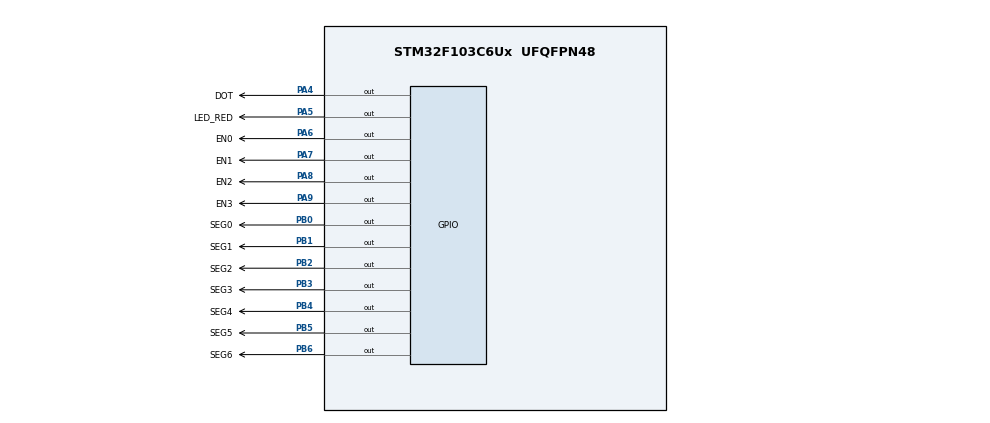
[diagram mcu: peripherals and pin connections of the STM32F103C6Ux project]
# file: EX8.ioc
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Mcu.Family=STM32F1
Mcu.Name=STM32F103C6Ux
Mcu.Package=UFQFPN48
NVIC.PriorityGroup=NVIC_PRIORITYGROUP_4
NVIC.TIM2_IRQn=true\:0\:0\:false\:false\:true\:true\:true
PA4.GPIO_Label=DOT
PA4.Signal=GPIO_Output
PA5.GPIO_Label=LED_RED
PA5.Signal=GPIO_Output
PA6.GPIO_Label=EN0
PA6.Signal=GPIO_Output
PA7.GPIO_Label=EN1
PA7.Signal=GPIO_Output
PA8.GPIO_Label=EN2
PA8.Signal=GPIO_Output
PA9.GPIO_Label=EN3
PA9.Signal=GPIO_Output
PB0.GPIO_Label=SEG0
PB0.Signal=GPIO_Output
PB1.GPIO_Label=SEG1
PB1.Signal=GPIO_Output
PB2.GPIO_Label=SEG2
PB2.Signal=GPIO_Output
PB3.GPIO_Label=SEG3
PB3.Signal=GPIO_Output
PB4.GPIO_Label=SEG4
PB4.Signal=GPIO_Output
PB5.GPIO_Label=SEG5
PB5.Signal=GPIO_Output
PB6.GPIO_Label=SEG6
PB6.Signal=GPIO_Output
ProjectManager.HeapSize=0x200
ProjectManager.StackSize=0x400
ProjectManager.TargetToolchain=STM32CubeIDE
RCC.APB1Freq_Value=8000000
RCC.APB2Freq_Value=8000000
TIM2.Period=9
TIM2.Prescaler=7999
VP_SYS_VS_ND.Mode=No_Debug
VP_TIM2_VS_ClockSourceINT.Mode=Internal
board=custom

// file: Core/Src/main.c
/* USER CODE BEGIN Header */
/**
  ******************************************************************************
  * @file           : main.c
  * @brief          : Main program body
  ******************************************************************************
  * @attention
  *
  * <h2><center>&copy; Copyright (c) 2022 STMicroelectronics.
  * All rights reserved.</center></h2>
  *
  * This software component is licensed by ST under BSD 3-Clause license,
  * the "License"; You may not use this file except in compliance with the
  * License. You may obtain a copy of the License at:
  *                        opensource.org/licenses/BSD-3-Clause
  *
  ******************************************************************************
  */
/* USER CODE END Header */
#include "main.h"

TIM_HandleTypeDef htim2;

void SystemClock_Config(void);
static void MX_GPIO_Init(void);
static void MX_TIM2_Init(void);

/* USER CODE BEGIN 0 */
int timer0_counter=0;
int timer0_flag=0;
int timer_cycle=10;
void setTimer0(int duration){
	timer0_counter=duration/timer_cycle;
	timer0_flag=0;
}
//setTimer1
int timer1_counter=0;
int timer1_flag=0;
void setTimer1(int duration){
	timer1_counter=duration/timer_cycle;
	timer1_flag=0;
}
void timer_run(){
	if(timer0_counter>0){
		timer0_counter--;
		if(timer0_counter<=0){
			timer0_flag=1;
		}
	}
	if(timer1_counter>0){
		timer1_counter--;
		if(timer1_counter<=0){
			timer1_flag=1;
		}
	}
}
/* USER CODE END 0 */

int main(void)
{

  /* MCU Configuration--------------------------------------------------------*/

  /* Reset of all peripherals, Initializes the Flash interface and the Systick. */
  HAL_Init();

  /* Configure the system clock */
  SystemClock_Config();

  /* Initialize all configured peripherals */
  MX_GPIO_Init();
  MX_TIM2_Init();
  /* USER CODE BEGIN 2 */
  HAL_TIM_Base_Start_IT (& htim2 ) ;
  /* USER CODE END 2 */

  /* Infinite loop */
  /* USER CODE BEGIN WHILE */
  int hour=15, minute=8,second=50;
  int led_buffer [4] = {1 , 2 , 3 , 4};
  void updateClockBUffer(){
	  led_buffer[0]=hour/10;
	  led_buffer[1]=hour-10*(hour/10);
	  led_buffer[2]=minute/10;
	  led_buffer[3]=minute-10*(minute/10);
  }
  void display7SEG(int count){
	  // ma hex display7Seg cua 0 den 10
	  int16_t array[10]={
			0x40,	//0
			0x79,	//1
			0x24,	//2
			0x30,	//3
			0x19,	//4
			0x12,	//5
			0x2,	//6
			0x78,	//7
			0x0,	//8
			0x10	//9
	  };
	  //day gia tri ma hex cua so can hien thi vao thanh ghi
	  GPIOB->ODR=array[count];
}
void update7SEG(int index){
	switch(index){
	case 0:
		// Display the first 7 SEG with led_buffer [0]
		HAL_GPIO_WritePin(EN0_GPIO_Port, EN0_Pin, 0);
		HAL_GPIO_WritePin(EN1_GPIO_Port, EN1_Pin, 1);
		HAL_GPIO_WritePin(EN2_GPIO_Port, EN2_Pin, 1);
		HAL_GPIO_WritePin(EN3_GPIO_Port, EN3_Pin, 1);
		display7SEG(led_buffer[index]);
		break;
	case 1:
		// Display the first 7 SEG with led_buffer [1]
		HAL_GPIO_WritePin(EN0_GPIO_Port, EN0_Pin, 1);
		HAL_GPIO_WritePin(EN1_GPIO_Port, EN1_Pin, 0);
		HAL_GPIO_WritePin(EN2_GPIO_Port, EN2_Pin, 1);
		HAL_GPIO_WritePin(EN3_GPIO_Port, EN3_Pin, 1);
		display7SEG(led_buffer[index]);
		break;
	case 2:
		// Display the first 7 SEG with led_buffer [2]
		HAL_GPIO_WritePin(EN0_GPIO_Port, EN0_Pin, 1);
		HAL_GPIO_WritePin(EN1_GPIO_Port, EN1_Pin, 1);
		HAL_GPIO_WritePin(EN2_GPIO_Port, EN2_Pin, 0);
		HAL_GPIO_WritePin(EN3_GPIO_Port, EN3_Pin, 1);
		display7SEG(led_buffer[index]);
		break;
	case 3:
		// Display the first 7 SEG with led_buffer [3]
		HAL_GPIO_WritePin(EN0_GPIO_Port, EN0_Pin, 1);
		HAL_GPIO_WritePin(EN1_GPIO_Port, EN1_Pin, 1);
		HAL_GPIO_WritePin(EN2_GPIO_Port, EN2_Pin, 1);
		HAL_GPIO_WritePin(EN3_GPIO_Port, EN3_Pin, 0);
		display7SEG(led_buffer[index]);
		break;
	default:
		break;
	}
}
  //set timer cho 4 led7segment
  setTimer0(1000);
  //set timer cho 2 den led
  setTimer1(1000);
  int state_led=0;
  int index_led=0;
  while (1)
  {
    /* USER CODE END WHILE */
	  if(timer0_flag==1){
		  //hien thi 4 led7segment voi F=0.25Hz
		  setTimer0(1000);
		  second++;
		  if(second>=60){
		  	second=0;
		  	minute++;
		  }
		  if(minute>=60){
		  	minute=0;
		  	hour++;
		  }
		  if(hour>=24){
		  	hour=0;
		  }
		  //cap nhat gia tri thoi gian
		  updateClockBUffer();
		  //hien thi gia tri ra led7segment tuong ung voi index_led
		  update7SEG(index_led);
		  index_led++;
		  if(index_led>=4) index_led=0;
	  }
	  if(timer1_flag==1){
		  //2 den led chop tat moi 500ms
		  setTimer1(500);
			if(state_led==0){
				HAL_GPIO_WritePin(DOT_GPIO_Port, DOT_Pin, 0);
				HAL_GPIO_WritePin(LED_RED_GPIO_Port, LED_RED_Pin, 1);
			}
			if(state_led==1){
					HAL_GPIO_WritePin(DOT_GPIO_Port, DOT_Pin, 1);
					HAL_GPIO_WritePin(LED_RED_GPIO_Port, LED_RED_Pin, 0);
			}
			state_led=1-state_led;
	  }
  }
}

void SystemClock_Config(void)
{
  RCC_OscInitTypeDef RCC_OscInitStruct = {0};
  RCC_ClkInitTypeDef RCC_ClkInitStruct = {0};

  /** Initializes the RCC Oscillators according to the specified parameters
  * in the RCC_OscInitTypeDef structure.
  */
  RCC_OscInitStruct.OscillatorType = RCC_OSCILLATORTYPE_HSI;
  RCC_OscInitStruct.HSIState = RCC_HSI_ON;
  RCC_OscInitStruct.HSICalibrationValue = RCC_HSICALIBRATION_DEFAULT;
  RCC_OscInitStruct.PLL.PLLState = RCC_PLL_NONE;
  if (HAL_RCC_OscConfig(&RCC_OscInitStruct) != HAL_OK)
  {
    Error_Handler();
  }
  /** Initializes the CPU, AHB and APB buses clocks
  */
  RCC_ClkInitStruct.ClockType = RCC_CLOCKTYPE_HCLK|RCC_CLOCKTYPE_SYSCLK
                              |RCC_CLOCKTYPE_PCLK1|RCC_CLOCKTYPE_PCLK2;
  RCC_ClkInitStruct.SYSCLKSource = RCC_SYSCLKSOURCE_HSI;
  RCC_ClkInitStruct.AHBCLKDivider = RCC_SYSCLK_DIV1;
  RCC_ClkInitStruct.APB1CLKDivider = RCC_HCLK_DIV1;
  RCC_ClkInitStruct.APB2CLKDivider = RCC_HCLK_DIV1;

  if (HAL_RCC_ClockConfig(&RCC_ClkInitStruct, FLASH_LATENCY_0) != HAL_OK)
  {
    Error_Handler();
  }
}

static void MX_TIM2_Init(void)
{

  TIM_ClockConfigTypeDef sClockSourceConfig = {0};
  TIM_MasterConfigTypeDef sMasterConfig = {0};

  htim2.Instance = TIM2;
  htim2.Init.Prescaler = 7999;
  htim2.Init.CounterMode = TIM_COUNTERMODE_UP;
  htim2.Init.Period = 9;
  htim2.Init.ClockDivision = TIM_CLOCKDIVISION_DIV1;
  htim2.Init.AutoReloadPreload = TIM_AUTORELOAD_PRELOAD_DISABLE;
  if (HAL_TIM_Base_Init(&htim2) != HAL_OK)
  {
    Error_Handler();
  }
  sClockSourceConfig.ClockSource = TIM_CLOCKSOURCE_INTERNAL;
  if (HAL_TIM_ConfigClockSource(&htim2, &sClockSourceConfig) != HAL_OK)
  {
    Error_Handler();
  }
  sMasterConfig.MasterOutputTrigger = TIM_TRGO_RESET;
  sMasterConfig.MasterSlaveMode = TIM_MASTERSLAVEMODE_DISABLE;
  if (HAL_TIMEx_MasterConfigSynchronization(&htim2, &sMasterConfig) != HAL_OK)
  {
    Error_Handler();
  }

}

static void MX_GPIO_Init(void)
{
  GPIO_InitTypeDef GPIO_InitStruct = {0};

  /* GPIO Ports Clock Enable */
  __HAL_RCC_GPIOA_CLK_ENABLE();
  __HAL_RCC_GPIOB_CLK_ENABLE();

  /*Configure GPIO pin Output Level */
  HAL_GPIO_WritePin(GPIOA, DOT_Pin|LED_RED_Pin|EN0_Pin|EN1_Pin
                          |EN2_Pin|EN3_Pin, GPIO_PIN_RESET);

  /*Configure GPIO pin Output Level */
  HAL_GPIO_WritePin(GPIOB, SEG0_Pin|SEG1_Pin|SEG2_Pin|SEG3_Pin
                          |SEG4_Pin|SEG5_Pin|SEG6_Pin, GPIO_PIN_RESET);

  /*Configure GPIO pins : DOT_Pin LED_RED_Pin EN0_Pin EN1_Pin
                           EN2_Pin EN3_Pin */
  GPIO_InitStruct.Pin = DOT_Pin|LED_RED_Pin|EN0_Pin|EN1_Pin
                          |EN2_Pin|EN3_Pin;
  GPIO_InitStruct.Mode = GPIO_MODE_OUTPUT_PP;
  GPIO_InitStruct.Pull = GPIO_NOPULL;
  GPIO_InitStruct.Speed = GPIO_SPEED_FREQ_LOW;
  HAL_GPIO_Init(GPIOA, &GPIO_InitStruct);

  /*Configure GPIO pins : SEG0_Pin SEG1_Pin SEG2_Pin SEG3_Pin
                           SEG4_Pin SEG5_Pin SEG6_Pin */
  GPIO_InitStruct.Pin = SEG0_Pin|SEG1_Pin|SEG2_Pin|SEG3_Pin
                          |SEG4_Pin|SEG5_Pin|SEG6_Pin;
  GPIO_InitStruct.Mode = GPIO_MODE_OUTPUT_PP;
  GPIO_InitStruct.Pull = GPIO_NOPULL;
  GPIO_InitStruct.Speed = GPIO_SPEED_FREQ_LOW;
  HAL_GPIO_Init(GPIOB, &GPIO_InitStruct);

}

/* USER CODE BEGIN 4 */
void HAL_TIM_PeriodElapsedCallback ( TIM_HandleTypeDef * htim ){
	timer_run();
}
/* USER CODE END 4 */

void Error_Handler(void)
{
  __disable_irq();
  while (1)
  {
  }
}

/************************ (C) COPYRIGHT STMicroelectronics *****END OF FILE****/
